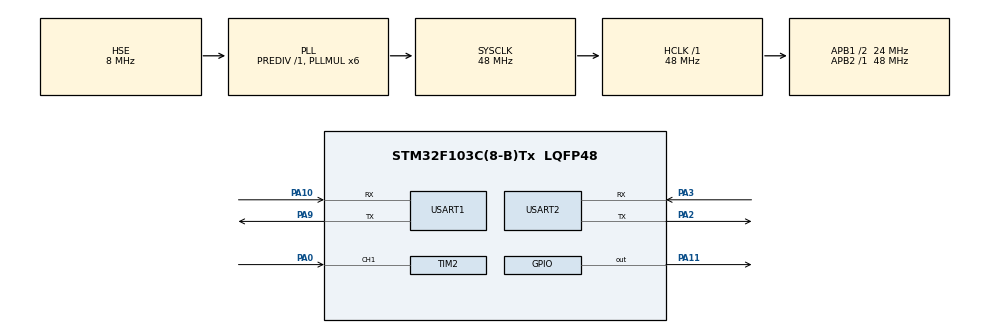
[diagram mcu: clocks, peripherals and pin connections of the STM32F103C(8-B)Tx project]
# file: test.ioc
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Mcu.Family=STM32F1
Mcu.Name=STM32F103C(8-B)Tx
Mcu.Package=LQFP48
NVIC.PriorityGroup=NVIC_PRIORITYGROUP_4
NVIC.TIM2_IRQn=true\:0\:0\:false\:false\:true\:true\:true
NVIC.USART1_IRQn=true\:0\:0\:false\:false\:true\:true\:true
NVIC.USART2_IRQn=true\:0\:0\:false\:false\:true\:true\:true
PA0-WKUP.Signal=S_TIM2_CH1_ETR
PA10.Mode=Asynchronous
PA10.Signal=USART1_RX
PA11.Signal=GPIO_Output
PA13.Mode=Serial_Wire
PA13.Signal=SYS_JTMS-SWDIO
PA14.Mode=Serial_Wire
PA14.Signal=SYS_JTCK-SWCLK
PA2.Mode=Asynchronous
PA2.Signal=USART2_TX
PA3.Mode=Asynchronous
PA3.Signal=USART2_RX
PA9.Mode=Asynchronous
PA9.Signal=USART1_TX
PD0-OSC_IN.Mode=HSE-External-Oscillator
PD0-OSC_IN.Signal=RCC_OSC_IN
PD1-OSC_OUT.Mode=HSE-External-Oscillator
PD1-OSC_OUT.Signal=RCC_OSC_OUT
ProjectManager.HeapSize=0x200
ProjectManager.StackSize=0x400
ProjectManager.TargetToolchain=MDK-ARM V5
RCC.AHBFreq_Value=48000000
RCC.APB1CLKDivider=RCC_HCLK_DIV2
RCC.APB1Freq_Value=24000000
RCC.APB1TimFreq_Value=48000000
RCC.APB2Freq_Value=48000000
RCC.APB2TimFreq_Value=48000000
RCC.HCLKFreq_Value=48000000
RCC.PLLMUL=RCC_PLL_MUL6
RCC.PLLSourceVirtual=RCC_PLLSOURCE_HSE
RCC.SYSCLKFreq_VALUE=48000000
RCC.SYSCLKSource=RCC_SYSCLKSOURCE_PLLCLK
RCC.USBFreq_Value=48000000
SH.S_TIM2_CH1_ETR.0=TIM2_CH1,Input_Capture1_from_TI1
SH.S_TIM2_CH1_ETR.1=TIM2_CH1,Input_Capture2_from_TI1
TIM2.Channel-Input_Capture1_from_TI1=TIM_CHANNEL_1
TIM2.Channel-Input_Capture2_from_TI1=TIM_CHANNEL_2
TIM2.ICPolarity_CH2=TIM_INPUTCHANNELPOLARITY_FALLING
TIM2.Period=0xFFFF
TIM2.Prescaler=48-1
USART1.VirtualMode=VM_ASYNC
USART2.VirtualMode=VM_ASYNC
board=custom

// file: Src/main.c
/* USER CODE BEGIN Header */
/**
  ******************************************************************************
  * @file           : main.c
  * @brief          : Main program body
  ******************************************************************************
  * @attention
  *
  * <h2><center>&copy; Copyright (c) 2020 STMicroelectronics.
  * All rights reserved.</center></h2>
  *
  * This software component is licensed by ST under BSD 3-Clause license,
  * the "License"; You may not use this file except in compliance with the
  * License. You may obtain a copy of the License at:
  *                        opensource.org/licenses/BSD-3-Clause
  *
  ******************************************************************************
  */
/* USER CODE END Header */

#include "main.h"
#include "tim.h"
#include "usart.h"
#include "gpio.h"

/* USER CODE BEGIN Includes */
#include "remote.h"
#include "sfr.h"
#include "wired.h"
#include "math.h"
#include "uc_probeDebug.h"
#include "mc_api.h"
/* USER CODE END Includes */

/* USER CODE BEGIN PV */
int DebugSet_left_rpm = 0;
int DebugSet_right_rpm = 0;

int DebugSet_Wheel = 0;
int DebugSet_Straight = 0;

float DebugSet_deta = 0.01;
/* USER CODE END PV */

void SystemClock_Config(void);

int main(void)
{

  /* MCU Configuration--------------------------------------------------------*/

  /* Reset of all peripherals, Initializes the Flash interface and the Systick. */
  HAL_Init();

  /* Configure the system clock */
  SystemClock_Config();

  /* Initialize all configured peripherals */
  MX_GPIO_Init();
  MX_USART1_UART_Init();
  MX_USART2_UART_Init();
  MX_TIM2_Init();
  /* USER CODE BEGIN 2 */
//	USART1->DR = 0X5A;
//	USART2->DR = 0X5A;
	Enable485TX();
	//Disable485TX();
    HAL_Delay(500);
    timer_Start_IT();            //开启遥控器接收

	MC_StartMotor1();
  /* USER CODE END 2 */

  /* Infinite loop */
  /* USER CODE BEGIN WHILE */
    while (1)
    {
		//if (ucDebug_start_motor > 0) {
		//	MC_StartMotor1();
		//}
		//else if (ucDebug_start_motor <= 0) {
		//	MC_StopMotor1();
		//}
		//HAL_Delay(20);
    /* USER CODE END WHILE */

    /* USER CODE BEGIN 3 */
		Computing_dir();//获取遥控器发送的控制方向
		Computing_speed();//获取遥控器发送的速度值
		Computing_rpm();//将速度转化成转速

//		if(DebugSet_Wheel!=0){
//			DebugSet_left_rpm = DebugSet_Wheel;
//			DebugSet_right_rpm = -DebugSet_Wheel;
//			left_rpm = DebugSet_left_rpm;
//			right_rpm = DebugSet_right_rpm;
//
//		}
//		else if(DebugSet_Straight != 0){
//			DebugSet_left_rpm = DebugSet_Straight;
//			DebugSet_right_rpm = DebugSet_Straight;
//			left_rpm = DebugSet_left_rpm;
//			right_rpm = DebugSet_right_rpm;
//
//		}
//
		left_rpm = DebugSet_left_rpm;
		right_rpm = DebugSet_left_rpm;
		if (fabs((double)DebugSet_left_rpm) < DebugSet_deta) {
			left_rpm = 0;
			right_rpm = 0;
		}
		//left_rpm = 100;
		//right_rpm = 100;
		run_control();//将转度发送给驱动器
    }
  /* USER CODE END 3 */
}

void SystemClock_Config(void)
{
  RCC_OscInitTypeDef RCC_OscInitStruct = {0};
  RCC_ClkInitTypeDef RCC_ClkInitStruct = {0};

  /** Initializes the CPU, AHB and APB busses clocks
  */
  RCC_OscInitStruct.OscillatorType = RCC_OSCILLATORTYPE_HSE;
  RCC_OscInitStruct.HSEState = RCC_HSE_ON;
  RCC_OscInitStruct.HSEPredivValue = RCC_HSE_PREDIV_DIV1;
  RCC_OscInitStruct.HSIState = RCC_HSI_ON;
  RCC_OscInitStruct.PLL.PLLState = RCC_PLL_ON;
  RCC_OscInitStruct.PLL.PLLSource = RCC_PLLSOURCE_HSE;
  RCC_OscInitStruct.PLL.PLLMUL = RCC_PLL_MUL6;
  if (HAL_RCC_OscConfig(&RCC_OscInitStruct) != HAL_OK)
  {
    Error_Handler();
  }
  /** Initializes the CPU, AHB and APB busses clocks
  */
  RCC_ClkInitStruct.ClockType = RCC_CLOCKTYPE_HCLK|RCC_CLOCKTYPE_SYSCLK
                              |RCC_CLOCKTYPE_PCLK1|RCC_CLOCKTYPE_PCLK2;
  RCC_ClkInitStruct.SYSCLKSource = RCC_SYSCLKSOURCE_PLLCLK;
  RCC_ClkInitStruct.AHBCLKDivider = RCC_SYSCLK_DIV1;
  RCC_ClkInitStruct.APB1CLKDivider = RCC_HCLK_DIV2;
  RCC_ClkInitStruct.APB2CLKDivider = RCC_HCLK_DIV1;

  if (HAL_RCC_ClockConfig(&RCC_ClkInitStruct, FLASH_LATENCY_1) != HAL_OK)
  {
    Error_Handler();
  }
}

void Error_Handler(void)
{
}

/************************ (C) COPYRIGHT STMicroelectronics *****END OF FILE****/
